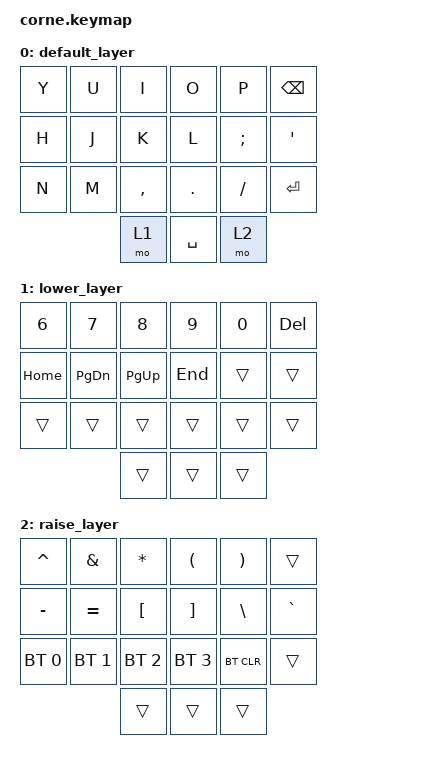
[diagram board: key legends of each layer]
/*
 * Copyright (c) 2020 The ZMK Contributors
 *
 * SPDX-License-Identifier: MIT
 */

#include <behaviors.dtsi>
#include <dt-bindings/zmk/keys.h>
#include <dt-bindings/zmk/bt.h>

/ {
    keymap {
        compatible = "zmk,keymap";

        default_layer {
            // Right side only keymap
            // ┌───────┬───────┬───────┬───────┬───────┬───────┐
            // │  Y    │  U    │  I    │  O    │  P    │ BSPC  │ 
            // ├───────┼───────┼───────┼───────┼───────┼───────┤
            // │  H    │  J    │  K    │  L    │  ;    │  '    │ 
            // ├───────┼───────┼───────┼───────┼───────┼───────┤
            // │  N    │  M    │  ,    │  .    │  /    │ ENTER │
            // └───────┴───────┴───────┼───────┼───────┼───────┤
            //                         │ RAISE │  SPC  │ LOWER │
            //                         └───────┴───────┴───────┘
            bindings = <
                                        &kp Y   &kp U   &kp I     &kp O    &kp P     &kp BSPC
                                        &kp H   &kp J   &kp K     &kp L    &kp SEMI  &kp SQT
                                        &kp N   &kp M   &kp COMMA &kp DOT  &kp SLASH &kp RET
                                                        &mo 1     &kp SPACE &mo 2
            >;
        };

        lower_layer {
            // Right side only keymap - numbers and navigation
            // ┌───────┬───────┬───────┬───────┬───────┬───────┐
            // │   6   │   7   │   8   │   9   │   0   │  DEL  │ 
            // ├───────┼───────┼───────┼───────┼───────┼───────┤
            // │  HOME │ PG_DN │ PG_UP │  END  │       │       │ 
            // ├───────┼───────┼───────┼───────┼───────┼───────┤
            // │       │       │       │       │       │       │
            // └───────┴───────┴───────┼───────┼───────┼───────┤
            //                         │       │       │       │
            //                         └───────┴───────┴───────┘
            bindings = <
                                        &kp N6  &kp N7  &kp N8    &kp N9   &kp N0   &kp DEL
                                        &kp HOME &kp PG_DN &kp PG_UP &kp END &trans   &trans
                                        &trans  &trans  &trans    &trans   &trans   &trans
                                                        &trans    &trans   &trans
            >;
        };

        raise_layer {
            // Right side only keymap - symbols and bluetooth
            // ┌───────┬───────┬───────┬───────┬───────┬───────┐
            // │   ^   │   &   │   *   │   (   │   )   │       │ 
            // ├───────┼───────┼───────┼───────┼───────┼───────┤
            // │   -   │   =   │   [   │   ]   │   \   │   `   │ 
            // ├───────┼───────┼───────┼───────┼───────┼───────┤
            // │  BT1  │  BT2  │  BT3  │  BT4  │ BTCLR │       │
            // └───────┴───────┴───────┼───────┼───────┼───────┤
            //                         │       │       │       │
            //                         └───────┴───────┴───────┘
            bindings = <
                                        &kp CARET &kp AMPS  &kp STAR  &kp LPAR  &kp RPAR  &trans
                                        &kp MINUS &kp EQUAL &kp LBKT  &kp RBKT  &kp BSLH  &kp GRAVE
                                        &bt BT_SEL 0 &bt BT_SEL 1 &bt BT_SEL 2 &bt BT_SEL 3 &bt BT_CLR &trans
                                                               &trans  &trans  &trans
            >;
        };
    };
};
